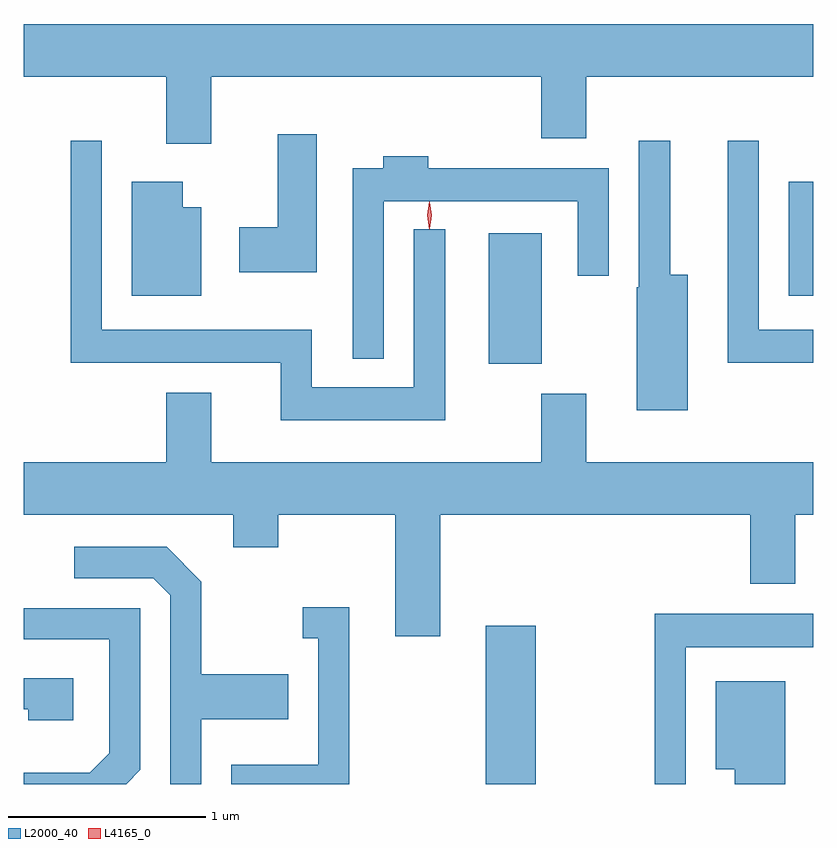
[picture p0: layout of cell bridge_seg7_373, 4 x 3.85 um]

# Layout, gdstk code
import gdstk
lib = gdstk.Library(unit=1e-6, precision=1e-09)
def R(c, l, rs):  # rectangles x0, y0, x1, y1
    for r in rs: c.add(gdstk.rectangle(r[:2], r[2:], *l))
def P(c, l, *ps):  # polygons
    for p in ps: c.add(gdstk.Polygon(p, *l))
L2000_40 = (2000, 40)
L4165_0 = (4165, 0)

bridge_seg7_373 = lib.new_cell('bridge_seg7_373')
R(bridge_seg7_373, L2000_40, [(1156.891,1744.032,1157.144,1744.834), (1156.906,1746.161,1157.174,1746.824), (1158.426,1746.506,1158.549,1747.084)])
P(bridge_seg7_373, L2000_40, [(1155.499,1747.616),(1157.171,1747.616),(1157.171,1747.306),(1157.399,1747.306),(1157.399,1747.616),(1158.549,1747.616),(1158.549,1747.884),(1154.549,1747.884),(1154.549,1747.616),(1155.271,1747.616),(1155.271,1747.276),(1155.499,1747.276)],
  [(1156.034,1747.324),(1155.836,1747.324),(1155.836,1746.854),(1155.641,1746.854),(1155.641,1746.626),(1156.034,1746.626)],
  [(1158.549,1746.334),(1158.274,1746.334),(1158.274,1747.293),(1158.116,1747.293),(1158.116,1746.166),(1158.549,1746.166)],
  [(1156.684,1746.843),(1156.526,1746.843),(1156.526,1746.044),(1156.009,1746.044),(1156.009,1746.334),(1154.944,1746.334),(1154.944,1747.293),(1154.786,1747.293),(1154.786,1746.166),(1155.851,1746.166),(1155.851,1745.876),(1156.684,1745.876)],
  [(1157.914,1746.614),(1157.824,1746.614),(1157.824,1747.293),(1157.666,1747.293),(1157.666,1746.55),(1157.656,1746.55),(1157.656,1745.926),(1157.914,1745.926)],
  [(1156.374,1746.986),(1157.356,1746.986),(1157.356,1746.608),(1157.514,1746.608),(1157.514,1747.154),(1156.599,1747.154),(1156.599,1747.214),(1156.371,1747.214),(1156.371,1747.154),(1156.216,1747.154),(1156.216,1746.188),(1156.374,1746.188)],
  [(1155.449,1746.954),(1155.354,1746.954),(1155.354,1747.084),(1155.096,1747.084),(1155.096,1746.506),(1155.449,1746.506)],
  [(1156.659,1745.396),(1158.231,1745.396),(1158.231,1745.046),(1158.459,1745.046),(1158.459,1745.396),(1158.549,1745.396),(1158.549,1745.664),(1157.399,1745.664),(1157.399,1746.009),(1157.171,1746.009),(1157.171,1745.664),(1155.499,1745.664),(1155.499,1746.014),(1155.271,1746.014),(1155.271,1745.664),(1154.549,1745.664),(1154.549,1745.396),(1155.611,1745.396),(1155.611,1745.231),(1155.839,1745.231),(1155.839,1745.396),(1156.431,1745.396),(1156.431,1744.781),(1156.659,1744.781)],
  [(1155.449,1744.361),(1155.889,1744.361),(1155.889,1744.589),(1155.449,1744.589),(1155.449,1745.057),(1155.272,1745.234),(1154.803,1745.234),(1154.803,1745.076),(1155.204,1745.076),(1155.291,1744.989),(1155.291,1744.032),(1155.449,1744.032)],
  [(1156.199,1744.929),(1155.963,1744.929),(1155.963,1744.771),(1156.041,1744.771),(1156.041,1744.129),(1155.601,1744.129),(1155.601,1744.032),(1156.199,1744.032)],
  [(1155.139,1744.104),(1155.139,1744.924),(1154.549,1744.924),(1154.549,1744.766),(1154.981,1744.766),(1154.981,1744.187),(1154.884,1744.089),(1154.549,1744.089),(1154.549,1744.032),(1155.067,1744.032)],
  [(1157.904,1744.726),(1158.549,1744.726),(1158.549,1744.894),(1157.746,1744.894),(1157.746,1744.032),(1157.904,1744.032)],
  [(1154.799,1744.569),(1154.549,1744.569),(1154.549,1744.411),(1154.571,1744.411),(1154.571,1744.356),(1154.799,1744.356)],
  [(1158.409,1744.554),(1158.056,1744.554),(1158.056,1744.106),(1158.151,1744.106),(1158.151,1744.032),(1158.409,1744.032)])
P(bridge_seg7_373, L4165_0, [(1156.604,1746.844),(1156.604,1746.844),(1156.594,1746.914),(1156.604,1746.983),(1156.604,1746.983),(1156.605,1746.983),(1156.614,1746.914),(1156.605,1746.844)],
  [(1156.606,1746.847),(1156.606,1746.847),(1156.596,1746.914),(1156.606,1746.98),(1156.606,1746.981),(1156.607,1746.98),(1156.616,1746.914),(1156.607,1746.847)])

lib.write_gds('bridge_seg7_373.gds')
